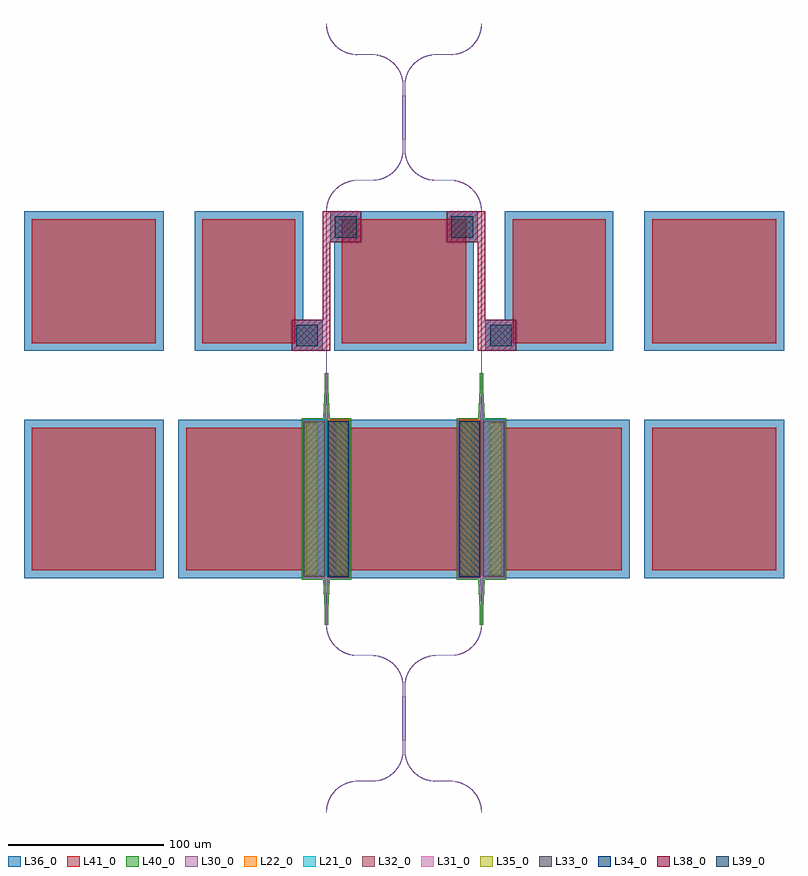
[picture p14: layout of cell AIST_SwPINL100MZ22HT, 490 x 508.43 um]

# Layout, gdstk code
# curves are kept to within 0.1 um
import gdstk
lib = gdstk.Library(unit=1e-6, precision=1e-09)
def R(c, l, rs):  # rectangles x0, y0, x1, y1
    for r in rs: c.add(gdstk.rectangle(r[:2], r[2:], *l))
def A(c, l, x, y, w, h, nx, ny, dx, dy):  # array of equal rectangles
    R(c, l, [(x+i*dx, y+j*dy, x+i*dx+w, y+j*dy+h) for i in range(nx) for j in range(ny)])
def P(c, l, *ps):  # polygons
    for p in ps: c.add(gdstk.Polygon(p, *l))
L21_0 = (21, 0)
L22_0 = (22, 0)
L30_0 = (30, 0)
L31_0 = (31, 0)
L32_0 = (32, 0)
L33_0 = (33, 0)
L34_0 = (34, 0)
L35_0 = (35, 0)
L36_0 = (36, 0)
L38_0 = (38, 0)
L39_0 = (39, 0)
L40_0 = (40, 0)
L41_0 = (41, 0)

aist_swpinl100mz22ht = lib.new_cell('AIST_SwPINL100MZ22HT')
R(aist_swpinl100mz22ht, L21_0, [(-64.5,137,-49.85,238), (49.85,137,64.5,238)])
R(aist_swpinl100mz22ht, L22_0, [(-50.15,137,-35.5,238), (35.5,137,50.15,238)])
P(aist_swpinl100mz22ht, L30_0, [(-50.22,-15.516),(-50.078,-13.122),(-49.615,-10.605),(-48.838,-8.168),(-47.759,-5.848),(-46.443,-3.748),(-44.879,-1.824),(-43.031,-0.055),(-40.975,1.467),(-39.173,2.504),(-37.348,3.322),(-35.375,3.977),(-33.266,4.439),(-30.4,4.7),(-19.11,4.756),(-16.73,5.076),(-14.179,5.758),(-11.032,7.144),(-8.11,9.105),(-5.687,11.432),(-3.61,14.272),(-2.497,16.4),(-1.651,18.646),(-1.097,20.9),(-0.797,23.443),(-1.105,36.691),(-1.105,53.293),(-0.806,66.7),(-1.097,69.084),(-1.723,71.567),(-2.597,73.803),(-3.777,75.985),(-5.171,77.94),(-6.849,79.767),(-8.743,81.37),(-10.822,82.723),(-14.255,84.252),(-17.915,85.104),(-20.31,85.279),(-30.88,85.299),(-32.95,85.496),(-35.143,85.945),(-37.941,86.904),(-40.363,88.137),(-42.661,89.734),(-44.716,91.633),(-46.627,93.993),(-48.198,96.686),(-49.313,99.511),(-50.004,102.55),(-50.216,105.1),(-50.255,115.5),(-51,135.5),(-65,135.5),(-65,237.5),(-35,237.5),(-35,135.5),(-49,135.5),(-49.745,115.5),(-49.779,105.26),(-49.495,102.153),(-48.674,98.978),(-47.919,97.124),(-46.94,95.288),(-45.725,93.5),(-44.487,92.032),(-41.549,89.441),(-39.728,88.277),(-38.084,87.447),(-35.068,86.38),(-31.999,85.821),(-19.91,85.71),(-16.106,85.226),(-13.651,84.507),(-11.164,83.41),(-8.782,81.943),(-6.683,80.216),(-4.784,78.161),(-3.106,75.725),(-1.831,73.145),(-0.935,70.411),(-0.546,68.45),(-0.349,66.38),(-0.095,53.293),(0.095,53.293),(0.361,66.619),(0.935,70.411),(1.831,73.145),(3.106,75.725),(4.784,78.161),(6.683,80.216),(8.782,81.943),(11.164,83.41),(13.651,84.507),(16.106,85.226),(19.91,85.71),(31.999,85.821),(35.068,86.38),(38.084,87.447),(39.728,88.277),(41.549,89.441),(44.487,92.032),(45.725,93.5),(46.94,95.288),(47.919,97.124),(48.674,98.978),(49.495,102.153),(49.779,105.26),(49.745,115.5),(49,135.5),(35,135.5),(35,237.5),(65,237.5),(65,135.5),(51,135.5),(50.255,115.5),(50.216,105.1),(50.004,102.55),(49.313,99.511),(48.198,96.686),(46.627,93.993),(44.716,91.633),(42.661,89.734),(40.363,88.137),(37.941,86.904),(35.143,85.945),(32.95,85.496),(30.88,85.299),(20.31,85.279),(17.915,85.104),(14.255,84.252),(10.822,82.723),(8.743,81.37),(6.849,79.767),(5.171,77.94),(3.777,75.985),(2.597,73.803),(1.723,71.567),(1.097,69.084),(0.806,66.7),(1.105,53.293),(1.105,36.691),(0.797,23.443),(1.097,20.9),(1.651,18.646),(2.497,16.4),(3.61,14.272),(5.687,11.432),(8.11,9.105),(11.032,7.144),(14.179,5.758),(16.73,5.076),(19.11,4.756),(30.4,4.7),(33.266,4.439),(35.375,3.977),(37.348,3.322),(39.173,2.504),(40.975,1.467),(43.031,-0.055),(44.879,-1.824),(46.443,-3.748),(47.759,-5.848),(48.838,-8.168),(49.615,-10.605),(50.078,-13.122),(50.22,-15.516),(49.78,-15.516),(49.559,-12.564),(48.827,-9.449),(48.02,-7.359),(46.94,-5.304),(45.529,-3.264),(43.987,-1.529),(42.126,0.111),(40.005,1.547),(36.522,3.158),(34.524,3.74),(32.635,4.088),(30.24,4.263),(19.67,4.283),(17.6,4.48),(15.407,4.929),(12.757,5.826),(10.325,7.04),(7.952,8.668),(6,10.443),(4.248,12.521),(2.753,14.886),(1.655,17.285),(0.824,20.04),(0.349,23.604),(0.095,36.691),(-0.095,36.691),(-0.361,23.365),(-0.86,19.884),(-1.655,17.285),(-2.791,14.816),(-4.248,12.521),(-6,10.443),(-7.952,8.668),(-10.325,7.04),(-12.757,5.826),(-15.407,4.929),(-17.6,4.48),(-19.67,4.283),(-30.24,4.263),(-32.635,4.088),(-34.524,3.74),(-36.522,3.158),(-40.005,1.547),(-42.126,0.111),(-43.987,-1.529),(-45.529,-3.264),(-46.94,-5.304),(-48.02,-7.359),(-48.827,-9.449),(-49.559,-12.564),(-49.78,-15.516)],
  [(49,237.5),(49.745,257.5),(49.78,371.98),(49.687,373.819),(49.408,375.72),(48.991,377.431),(48.395,379.173),(47.566,380.994),(46.601,382.655),(45.529,384.152),(44.267,385.601),(42.81,386.972),(41.353,388.098),(39.728,389.123),(38.084,389.953),(36.522,390.574),(35.068,391.02),(33.584,391.353),(32.078,391.571),(30.24,391.679),(19.67,391.699),(17.442,391.92),(15.252,392.386),(13.726,392.866),(12.316,393.432),(9.778,394.788),(8.587,395.598),(7.336,396.595),(5.297,398.626),(3.567,400.925),(2.753,402.302),(2.082,403.666),(1.057,406.525),(0.502,409.267),(0.34,411.26),(0.095,424.107),(-1.105,424.107),(-1.105,440.709),(-1.005,440.709),(-0.77,452.916),(-0.822,454.356),(-1.097,456.5),(-1.651,458.754),(-2.497,461),(-3.487,462.921),(-4.491,464.465),(-5.582,465.847),(-6.849,467.183),(-8.11,468.295),(-9.594,469.385),(-11.032,470.256),(-12.466,470.969),(-14.028,471.59),(-16.495,472.276),(-19.11,472.644),(-30.4,472.7),(-33.266,472.961),(-35.375,473.423),(-37.348,474.078),(-39.173,474.896),(-40.975,475.933),(-43.031,477.455),(-44.879,479.224),(-46.443,481.148),(-47.759,483.248),(-48.838,485.568),(-49.615,488.005),(-50.078,490.522),(-50.22,492.916),(-49.78,492.916),(-49.559,489.964),(-49.256,488.392),(-48.827,486.849),(-48.02,484.759),(-46.94,482.704),(-45.529,480.664),(-43.987,478.929),(-42.126,477.289),(-40.005,475.853),(-38.303,474.963),(-36.522,474.242),(-34.524,473.66),(-32.635,473.312),(-30.24,473.137),(-19.67,473.117),(-17.6,472.92),(-15.407,472.471),(-12.757,471.574),(-10.325,470.36),(-7.952,468.732),(-6,466.957),(-4.248,464.879),(-2.753,462.514),(-1.655,460.115),(-0.824,457.36),(-0.502,455.549),(-0.349,453.796),(-0.095,440.709),(0.095,440.709),(0.361,454.035),(0.546,455.866),(0.86,457.516),(1.655,460.115),(2.791,462.584),(4.248,464.879),(6,466.957),(7.952,468.732),(10.325,470.36),(12.757,471.574),(15.407,472.471),(17.6,472.92),(19.67,473.117),(30.24,473.137),(32.635,473.312),(34.524,473.66),(36.522,474.242),(38.303,474.963),(40.005,475.853),(42.126,477.289),(43.987,478.929),(45.529,480.664),(46.94,482.704),(48.02,484.759),(48.827,486.849),(49.256,488.392),(49.559,489.964),(49.78,492.916),(50.22,492.916),(50.105,490.76),(49.726,488.472),(49.087,486.243),(48.267,484.246),(47.112,482.144),(45.816,480.318),(44.382,478.703),(42.723,477.2),(40.84,475.847),(38.814,474.718),(36.748,473.855),(34.444,473.19),(32.633,472.868),(30.88,472.715),(20.31,472.695),(17.915,472.52),(16.026,472.172),(14.255,471.668),(12.466,470.969),(10.683,470.059),(8.55,468.641),(6.563,466.903),(4.923,465.042),(3.487,462.921),(2.306,460.559),(1.493,458.216),(0.946,455.551),(0.77,452.996),(1.005,440.709),(1.105,440.709),(1.105,424.107),(1.005,424.107),(0.806,410.7),(1.097,408.316),(1.723,405.833),(2.699,403.38),(3.906,401.212),(4.923,399.774),(6.063,398.432),(7.259,397.251),(8.55,396.175),(9.997,395.17),(11.385,394.371),(12.907,393.656),(14.483,393.073),(16.966,392.447),(19.35,392.156),(30.24,392.119),(32.633,391.948),(34.444,391.626),(36.142,391.165),(37.941,390.496),(39.598,389.697),(41.507,388.527),(43.214,387.205),(44.716,385.767),(46.062,384.183),(47.363,382.263),(48.369,380.353),(49.165,378.346),(49.726,376.344),(50.096,374.136),(50.22,371.98),(50.255,257.5),(51,237.5)],
  [(-51,237.5),(-50.255,257.5),(-50.219,372.14),(-50.004,374.85),(-49.493,377.275),(-48.838,379.248),(-47.91,381.286),(-46.807,383.142),(-45.461,384.931),(-43.925,386.561),(-42.283,387.962),(-40.5,389.18),(-38.67,390.167),(-36.899,390.907),(-35.375,391.393),(-33.739,391.771),(-32.156,392.005),(-30.24,392.119),(-19.749,392.136),(-17.915,392.296),(-16.026,392.644),(-13.576,393.39),(-11.243,394.446),(-9.001,395.841),(-6.965,397.523),(-5.171,399.46),(-3.61,401.688),(-2.306,404.257),(-1.43,406.832),(-0.968,409.107),(-0.774,411.5),(-1.005,424.107),(-0.095,424.107),(-0.349,411.02),(-0.546,408.95),(-0.878,407.223),(-1.712,404.552),(-2.946,401.952),(-4.488,399.617),(-5.509,398.386),(-6.509,397.35),(-8.587,395.598),(-10.882,394.141),(-13.202,393.062),(-15.873,392.228),(-17.6,391.896),(-19.67,391.699),(-30.24,391.679),(-32.078,391.571),(-33.584,391.353),(-35.3,390.957),(-36.974,390.41),(-38.52,389.751),(-40.349,388.757),(-41.999,387.625),(-43.701,386.167),(-45.072,384.71),(-46.379,382.989),(-47.454,381.207),(-48.395,379.173),(-49.057,377.2),(-49.582,374.693),(-49.779,372.14),(-49.78,267.5),(-49.745,257.5),(-49,237.5)])
R(aist_swpinl100mz22ht, L31_0, [(-64.5,136,-50.5,237), (50.5,136,64.5,237)])
R(aist_swpinl100mz22ht, L32_0, [(-49.5,136,-35.5,237), (35.5,136,49.5,237)])
R(aist_swpinl100mz22ht, L33_0, [(-64.5,136.5,-51.15,236.5), (51.15,136.5,64.5,236.5)])
R(aist_swpinl100mz22ht, L34_0, [(-48.85,136.5,-35.5,236.5), (35.5,136.5,48.85,236.5)])
R(aist_swpinl100mz22ht, L35_0, [(-63,137.5,-56,235.5), (-44,137.5,-37,235.5), (37,137.5,44,235.5), (56,137.5,63,235.5)])
A(aist_swpinl100mz22ht, L36_0, -145.5, 135.5, 91, 102, 3, 1, 100, 0)
A(aist_swpinl100mz22ht, L36_0, -245, 281.9, 90, 90, 3, 1, 200, 0)
R(aist_swpinl100mz22ht, L36_0, [(-245,135.5,-155,237.5), (155,135.5,245,237.5), (-135,281.9,-65,371.9), (-72.5,281.9,-52.5,301.9), (-72.5,281.9,-52.5,301.9), (52.5,281.9,72.5,301.9), (52.5,281.9,72.5,301.9), (65,281.9,135,371.9), (155,281.9,245,371.9), (-47.5,351.9,-27.5,371.9), (-47.5,351.9,-27.5,371.9), (27.5,351.9,47.5,371.9), (27.5,351.9,47.5,371.9)])
R(aist_swpinl100mz22ht, L38_0, [(-72.5,281.9,-52.5,301.9), (-52.5,281.9,-47.5,371.9), (47.5,281.9,52.5,371.9), (52.5,281.9,72.5,301.9), (-47.5,351.9,-27.5,371.9), (27.5,351.9,47.5,371.9)])
R(aist_swpinl100mz22ht, L39_0, [(-69.5,284.9,-55.5,298.9), (55.5,284.9,69.5,298.9), (-44.5,354.9,-30.5,368.9), (30.5,354.9,44.5,368.9)])
P(aist_swpinl100mz22ht, L40_0, [(48.78,105.5),(48.745,115.5),(48,134.5),(34,134.5),(34,238.5),(48,238.5),(48.745,257.5),(48.78,267.5),(49.745,267.5),(49.745,105.5)],
  [(50.255,105.5),(50.255,267.5),(51.22,267.5),(51.255,257.5),(52,238.5),(66,238.5),(66,134.5),(52,134.5),(51.255,115.5),(51.22,105.5)],
  [(-51.22,105.5),(-51.255,115.5),(-52,134.5),(-66,134.5),(-66,238.5),(-52,238.5),(-51.255,257.5),(-51.22,267.5),(-50.255,267.5),(-50.255,105.5)],
  [(-49.745,105.5),(-49.745,267.5),(-48.78,267.5),(-48.745,257.5),(-48,238.5),(-34,238.5),(-34,134.5),(-48,134.5),(-48.745,115.5),(-48.78,105.5)])
A(aist_swpinl100mz22ht, L41_0, -140.5, 140.5, 81, 92, 3, 1, 100, 0)
A(aist_swpinl100mz22ht, L41_0, -240, 286.9, 80, 80, 3, 1, 200, 0)
R(aist_swpinl100mz22ht, L41_0, [(-240,140.5,-160,232.5), (160,140.5,240,232.5), (-130,286.9,-70,366.9), (70,286.9,130,366.9), (160,286.9,240,366.9)])

lib.write_gds('AIST_SwPINL100MZ22HT.gds')
